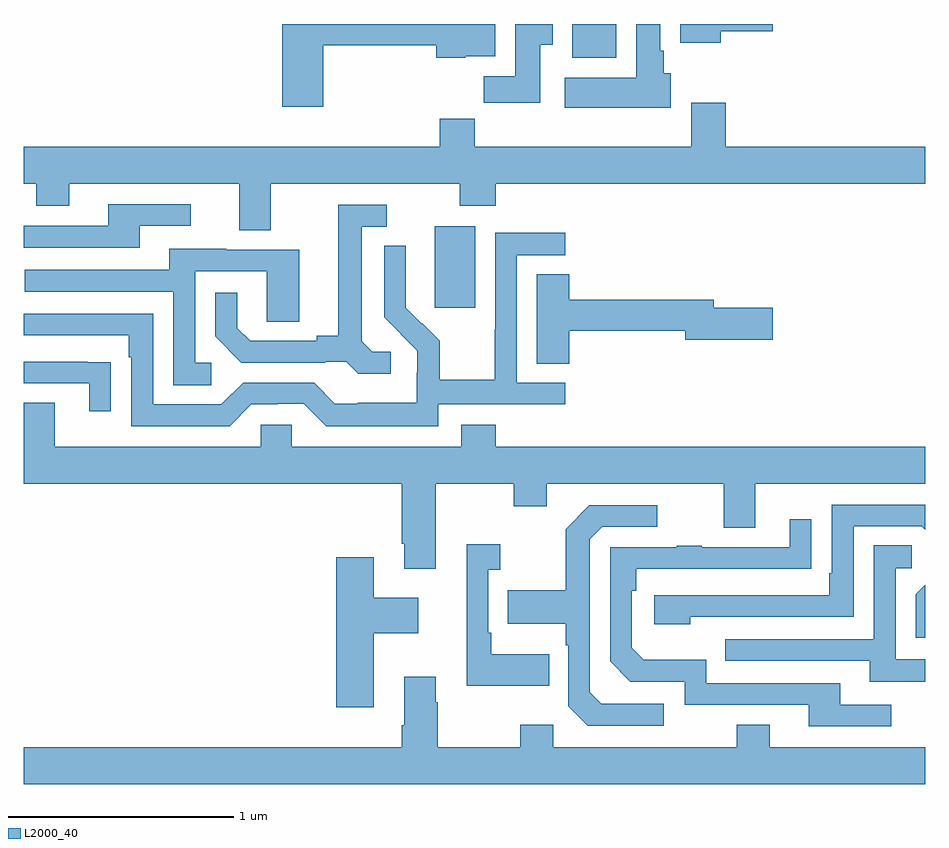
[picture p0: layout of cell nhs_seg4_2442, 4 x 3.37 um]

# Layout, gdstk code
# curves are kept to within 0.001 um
import gdstk
lib = gdstk.Library(unit=1e-6, precision=1e-09)
def R(c, l, rs):  # rectangles x0, y0, x1, y1
    for r in rs: c.add(gdstk.rectangle(r[:2], r[2:], *l))
def P(c, l, *ps):  # polygons
    for p in ps: c.add(gdstk.Polygon(p, *l))
L2000_40 = (2000, 40)

nhs_seg4_2442 = lib.new_cell('nhs_seg4_2442')
R(nhs_seg4_2442, L2000_40, [(240.824,757.641,241.003,758.002), (241.433,758.75,241.63,758.9)])
P(nhs_seg4_2442, L2000_40, [(241.291,758.809),(241.348,758.809),(241.348,758.9),(241.181,758.9),(241.181,758.668),(241.042,758.668),(241.042,758.55),(241.291,758.55)],
  [(241.87,758.682),(241.84,758.682),(241.84,758.782),(241.825,758.782),(241.825,758.9),(241.718,758.9),(241.718,758.662),(241.401,758.662),(241.401,758.528),(241.87,758.528)],
  [(242.092,758.867),(242.323,758.867),(242.323,758.9),(241.913,758.9),(241.913,758.816),(242.092,758.816)],
  [(240.329,758.805),(240.83,758.805),(240.83,758.75),(240.96,758.75),(240.96,758.756),(241.093,758.756),(241.093,758.9),(240.146,758.9),(240.146,758.532),(240.329,758.532)],
  [(240.097,758.192),(240.934,758.192),(240.934,758.093),(241.094,758.093),(241.094,758.192),(243,758.192),(243,758.356),(242.114,758.356),(242.114,758.551),(241.961,758.551),(241.961,758.356),(241.001,758.356),(241.001,758.48),(240.845,758.48),(240.845,758.356),(239,758.356),(239,758.192),(239.056,758.192),(239.056,758.093),(239.203,758.093),(239.203,758.192),(239.957,758.192),(239.957,757.984),(240.097,757.984)],
  [(239.515,758.004),(239.74,758.004),(239.74,758.1),(239.375,758.1),(239.375,758.004),(239,758.004),(239,757.908),(239.515,757.908)],
  [(240.628,757.446),(240.546,757.446),(240.499,757.493),(240.499,758.001),(240.61,758.001),(240.61,758.097),(240.395,758.097),(240.395,757.517),(240.299,757.517),(240.299,757.494),(240.004,757.494),(239.947,757.551),(239.947,757.708),(239.85,757.708),(239.85,757.514),(239.966,757.398),(240.338,757.398),(240.338,757.401),(240.432,757.401),(240.484,757.349),(240.628,757.349)],
  [(240.84,757.212),(241.402,757.212),(241.402,757.308),(241.188,757.308),(241.188,757.875),(241.402,757.875),(241.402,757.974),(241.092,757.974),(241.092,757.544),(241.09,757.544),(241.09,757.321),(240.845,757.321),(240.845,757.495),(240.768,757.572),(240.765,757.569),(240.695,757.64),(240.696,757.916),(240.6,757.916),(240.6,757.598),(240.746,757.45),(240.746,757.353),(240.744,757.353),(240.744,757.219),(240.481,757.219),(240.481,757.215),(240.381,757.215),(240.288,757.308),(239.973,757.308),(239.877,757.212),(239.574,757.212),(239.574,757.614),(239,757.614),(239,757.518),(239.465,757.518),(239.465,757.421),(239.478,757.421),(239.478,757.116),(239.913,757.116),(240.009,757.212),(240.128,757.212),(240.128,757.215),(240.243,757.215),(240.343,757.115),(240.84,757.115)],
  [(239.833,757.398),(239.76,757.398),(239.76,757.803),(240.078,757.803),(240.078,757.579),(240.223,757.579),(240.223,757.899),(239.899,757.899),(239.899,757.903),(239.645,757.903),(239.645,757.809),(239.005,757.809),(239.005,757.713),(239.664,757.713),(239.664,757.297),(239.833,757.297)],
  [(241.421,757.54),(241.934,757.54),(241.934,757.498),(242.323,757.498),(242.323,757.64),(242.062,757.64),(242.062,757.676),(241.421,757.676),(241.421,757.79),(241.277,757.79),(241.277,757.393),(241.421,757.393)],
  [(239.387,757.4),(239.285,757.4),(239.285,757.401),(239,757.401),(239,757.305),(239.291,757.305),(239.291,757.182),(239.387,757.182)],
  [(240.829,756.86),(241.174,756.86),(241.174,756.761),(241.321,756.761),(241.321,756.86),(242.105,756.86),(242.105,756.666),(242.245,756.666),(242.245,756.86),(243,756.86),(243,757.024),(241.094,757.024),(241.094,757.123),(240.941,757.123),(240.941,757.024),(240.189,757.024),(240.189,757.122),(240.051,757.122),(240.051,757.024),(239.137,757.024),(239.137,757.219),(239,757.219),(239,756.86),(240.677,756.86),(240.677,756.595),(240.689,756.595),(240.689,756.483),(240.829,756.483)],
  [(241.958,756.27),(242.682,756.27),(242.682,756.672),(242.985,756.672),(243,756.657),(243,756.768),(242.586,756.768),(242.586,756.463),(242.573,756.463),(242.573,756.366),(241.797,756.366),(241.797,756.236),(241.958,756.236)],
  [(241.84,755.883),(241.563,755.883),(241.512,755.934),(241.512,756.615),(241.566,756.669),(241.81,756.669),(241.81,756.765),(241.509,756.765),(241.404,756.659),(241.404,756.387),(241.147,756.387),(241.147,756.239),(241.404,756.239),(241.404,756.143),(241.416,756.143),(241.416,755.874),(241.503,755.787),(241.84,755.787)],
  [(242.848,755.88),(242.623,755.88),(242.623,755.976),(242.028,755.976),(242.028,756.079),(241.751,756.079),(241.698,756.132),(241.698,756.386),(241.718,756.386),(241.718,756.483),(242.495,756.484),(242.495,756.703),(242.399,756.703),(242.399,756.579),(242.009,756.579),(242.009,756.584),(241.897,756.584),(241.897,756.579),(241.602,756.579),(241.602,756.072),(241.692,755.982),(241.932,755.982),(241.932,755.88),(242.483,755.88),(242.483,755.784),(242.848,755.784)],
  [(241.331,756.103),(241.075,756.103),(241.075,756.199),(241.062,756.199),(241.062,756.479),(241.114,756.479),(241.114,756.592),(240.965,756.592),(240.965,755.963),(241.331,755.963)],
  [(243,756.081),(242.868,756.081),(242.868,756.486),(242.941,756.486),(242.941,756.587),(242.772,756.587),(242.772,756.171),(242.113,756.171),(242.113,756.075),(242.753,756.075),(242.753,755.981),(243,755.981)],
  [(240.553,756.197),(240.751,756.197),(240.751,756.355),(240.553,756.355),(240.553,756.535),(240.386,756.535),(240.386,755.868),(240.553,755.868)],
  [(243,756.412),(242.958,756.37),(242.958,756.177),(243,756.177)],
  [(243,755.692),(242.311,755.692),(242.311,755.791),(242.164,755.791),(242.164,755.692),(241.35,755.692),(241.35,755.791),(241.204,755.791),(241.204,755.692),(240.837,755.692),(240.837,755.891),(240.829,755.891),(240.829,756.004),(240.689,756.004),(240.689,755.788),(240.677,755.788),(240.677,755.692),(239,755.692),(239,755.528),(243,755.528)])

lib.write_gds('nhs_seg4_2442.gds')
